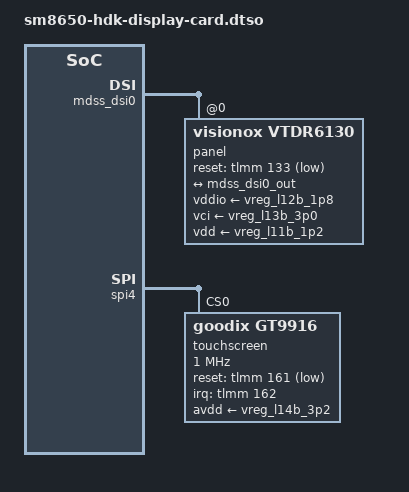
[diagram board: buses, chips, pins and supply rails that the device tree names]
// SPDX-License-Identifier: BSD-3-Clause
/*
 * Copyright (c) 2024, Linaro Limited
 */

/*
 * Display Card kit overlay
 * This requires S5702 Switch 7 to be turned to OFF to route DSI0 to the display panel
 */

#include <dt-bindings/gpio/gpio.h>
#include <dt-bindings/interrupt-controller/irq.h>

/dts-v1/;
/plugin/;

/* Disable HDMI bridge related nodes (mutually exclusive with the display card) */

&i2c6 {
	status = "disabled";
};

&lt9611_1v2 {
	status = "disabled";
};

&lt9611_3v3 {
	status = "disabled";
};

&vreg_bob_3v3 {
	status = "disabled";
};

&lt9611_codec {
	status = "disabled";
};

&mdss_dsi0 {
	#address-cells = <1>;
	#size-cells = <0>;

	panel@0 {
		compatible = "visionox,vtdr6130";
		reg = <0>;

		reset-gpios = <&tlmm 133 GPIO_ACTIVE_LOW>;

		vddio-supply = <&vreg_l12b_1p8>;
		vci-supply = <&vreg_l13b_3p0>;
		vdd-supply = <&vreg_l11b_1p2>;

		pinctrl-0 = <&disp0_reset_n_active>, <&mdp_vsync>;
		pinctrl-1 = <&disp0_reset_n_suspend>, <&mdp_vsync>;
		pinctrl-names = "default", "sleep";

		port {
			panel0_in: endpoint {
				remote-endpoint = <&mdss_dsi0_out>;
			};
		};
	};
};

&mdss_dsi0_out {
	remote-endpoint = <&panel0_in>;
};

&spi4 {
	#address-cells = <1>;
	#size-cells = <0>;

	status = "okay";

	touchscreen@0 {
		compatible = "goodix,gt9916";
		reg = <0>;

		interrupt-parent = <&tlmm>;
		interrupts = <162 IRQ_TYPE_LEVEL_LOW>;

		reset-gpios = <&tlmm 161 GPIO_ACTIVE_LOW>;

		avdd-supply = <&vreg_l14b_3p2>;

		spi-max-frequency = <1000000>;

		touchscreen-size-x = <1080>;
		touchscreen-size-y = <2400>;

		pinctrl-0 = <&ts_irq>, <&ts_reset>;
		pinctrl-names = "default";
	};
};

&tlmm {
	disp0_reset_n_active: disp0-reset-n-active-state {
		pins = "gpio133";
		function = "gpio";
		drive-strength = <8>;
		bias-disable;
	};

	disp0_reset_n_suspend: disp0-reset-n-suspend-state {
		pins = "gpio133";
		function = "gpio";
		drive-strength = <2>;
		bias-pull-down;
	};

	mdp_vsync: mdp-vsync-state {
		pins = "gpio86";
		function = "mdp_vsync";
		drive-strength = <2>;
		bias-pull-down;
	};

	ts_irq: ts-irq-state {
		pins = "gpio161";
		function = "gpio";
		drive-strength = <8>;
		bias-pull-up;
		output-disable;
	};

	ts_reset: ts-reset-state {
		pins = "gpio162";
		function = "gpio";
		drive-strength = <8>;
		bias-pull-up;
	};
};
